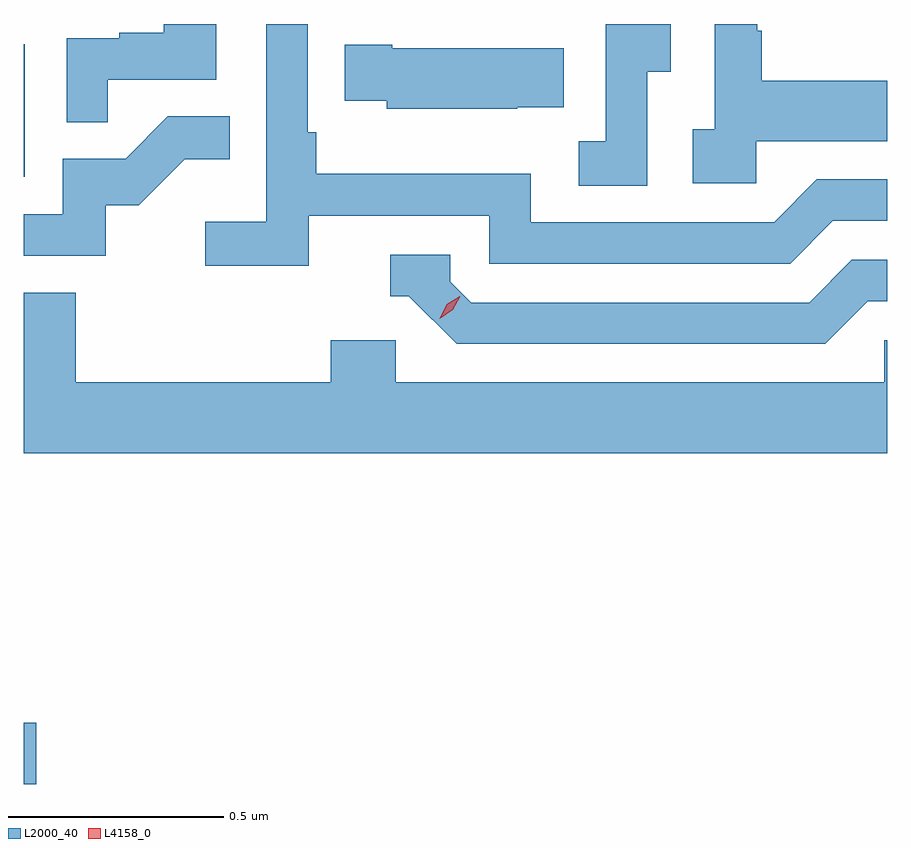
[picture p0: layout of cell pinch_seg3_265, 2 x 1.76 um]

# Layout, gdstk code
import gdstk
lib = gdstk.Library(unit=1e-6, precision=1e-09)
def R(c, l, rs):  # rectangles x0, y0, x1, y1
    for r in rs: c.add(gdstk.rectangle(r[:2], r[2:], *l))
def P(c, l, *ps):  # polygons
    for p in ps: c.add(gdstk.Polygon(p, *l))
L2000_40 = (2000, 40)
L4158_0 = (4158, 0)

pinch_seg3_265 = lib.new_cell('pinch_seg3_265')
R(pinch_seg3_265, L2000_40, [(902.522,724.126,902.551,724.268), (902.522,725.532,902.524,725.839)])
P(pinch_seg3_265, L2000_40, [(902.717,725.757),(902.968,725.757),(902.968,725.886),(902.846,725.886),(902.846,725.866),(902.743,725.866),(902.743,725.853),(902.622,725.853),(902.622,725.659),(902.717,725.659)],
  [(903.182,725.442),(903.6,725.442),(903.6,725.331),(904.297,725.331),(904.396,725.43),(904.522,725.43),(904.522,725.526),(904.359,725.526),(904.26,725.427),(903.696,725.427),(903.696,725.539),(903.2,725.539),(903.2,725.635),(903.18,725.635),(903.18,725.886),(903.084,725.886),(903.084,725.428),(902.943,725.428),(902.943,725.326),(903.182,725.326)],
  [(904.218,725.615),(904.522,725.615),(904.522,725.755),(904.231,725.755),(904.231,725.87),(904.221,725.87),(904.221,725.886),(904.122,725.886),(904.122,725.642),(904.071,725.642),(904.071,725.517),(904.218,725.517)],
  [(903.966,725.776),(904.021,725.776),(904.021,725.886),(903.87,725.886),(903.87,725.615),(903.807,725.615),(903.807,725.512),(903.966,725.512)],
  [(903.665,725.693),(903.773,725.693),(903.773,725.83),(903.376,725.83),(903.376,725.838),(903.265,725.838),(903.265,725.708),(903.363,725.708),(903.363,725.69),(903.665,725.69)],
  [(902.712,725.466),(902.788,725.466),(902.895,725.573),(902.999,725.573),(902.999,725.672),(902.856,725.672),(902.758,725.574),(902.613,725.574),(902.613,725.445),(902.522,725.445),(902.522,725.349),(902.712,725.349)],
  [(904.477,725.244),(904.522,725.244),(904.522,725.34),(904.44,725.34),(904.341,725.241),(903.558,725.241),(903.51,725.289),(903.51,725.352),(903.371,725.352),(903.371,725.256),(903.414,725.256),(903.525,725.145),(904.378,725.145)],
  [(904.522,725.154),(904.515,725.154),(904.515,725.056),(903.384,725.056),(903.384,725.154),(903.233,725.154),(903.233,725.056),(902.642,725.056),(902.642,725.264),(902.522,725.264),(902.522,724.892),(904.522,724.892)])
P(pinch_seg3_265, L4158_0, [(903.485,725.204),(903.485,725.204),(903.502,725.237),(903.532,725.256),(903.533,725.256),(903.533,725.256),(903.516,725.224),(903.486,725.204)])

lib.write_gds('pinch_seg3_265.gds')
